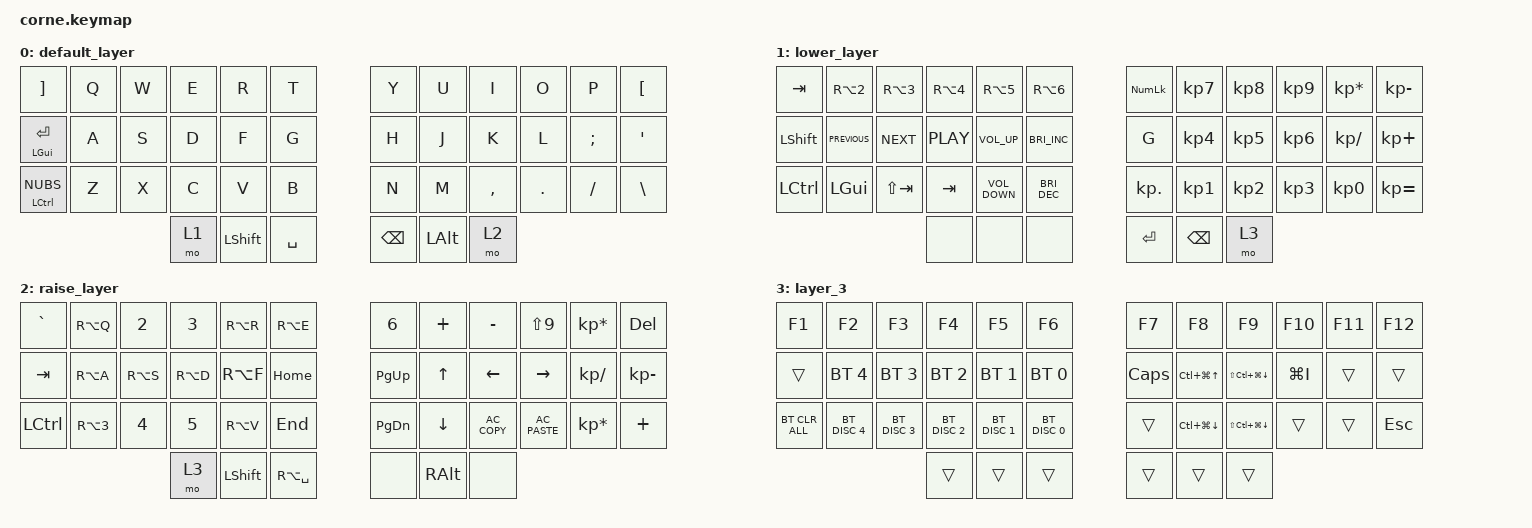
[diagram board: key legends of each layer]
/*
 * Copyright (c) 2020 The ZMK Contributors
 *
 * SPDX-License-Identifier: MIT
 */

#include <behaviors.dtsi>
#include <dt-bindings/zmk/bt.h>
#include <dt-bindings/zmk/keys.h>

/ {
    keymap {
        compatible = "zmk,keymap";

        default_layer {
            // -----------------------------------------------------------------------------------------
            // |  TAB |  Q  |  W  |  E  |  R  |  T  |   |  Y  |  U   |  I  |  O  |  P  | BSPC |
            // | CTRL |  A  |  S  |  D  |  F  |  G  |   |  H  |  J   |  K  |  L  |  ;  |  '   |
            // | SHFT |  Z  |  X  |  C  |  V  |  B  |   |  N  |  M   |  ,  |  .  |  /  | ESC  |
            //                    | GUI | LWR | SPC |   | ENT | RSE  | ALT |

            bindings = <
&kp RBKT        &kp Q  &kp W  &kp E  &kp R      &kp T        &kp Y          &kp U         &kp I      &kp O    &kp P     &kp LBKT
&mt LGUI ENTER  &kp A  &kp S  &kp D  &kp F      &kp G        &kp H          &kp J         &kp K      &kp L    &kp SEMI  &kp SQT
&mt LCTRL NUBS  &kp Z  &kp X  &kp C  &kp V      &kp B        &kp N          &kp M         &kp COMMA  &kp DOT  &kp FSLH  &kp BSLH
                              &mo 1  &kp LSHFT  &kp SPACE    &kp BACKSPACE  &kp LEFT_ALT  &mo 2
            >;
        };

        lower_layer {
            // -----------------------------------------------------------------------------------------
            // |  TAB |  1  |  2  |  3  |  4  |  5  |   |  6  |  7  |  8  |  9  |  0  | BSPC |
            // | BTCLR| BT1 | BT2 | BT3 | BT4 | BT5 |   | LFT | DWN |  UP | RGT |     |      |
            // | SHFT |     |     |     |     |     |   |     |     |     |     |     |      |
            //                    | GUI |     | SPC |   | ENT |     | ALT |

            bindings = <
&kp TAB    &kp RA(NUMBER_2)  &kp RA(NUMBER_3)  &kp RA(NUMBER_4)  &kp RA(N5)         &kp RA(NUMBER_6)        &kp KP_NUMLOCK  &kp KP_NUMBER_7  &kp KP_NUMBER_8  &kp KP_NUMBER_9  &kp KP_MULTIPLY  &kp KP_MINUS
&kp LSHFT  &kp C_PREVIOUS    &kp C_NEXT        &kp C_PLAY        &kp C_VOLUME_UP    &kp C_BRIGHTNESS_INC    &kp G           &kp KP_NUMBER_4  &kp KP_NUMBER_5  &kp KP_NUMBER_6  &kp KP_DIVIDE    &kp KP_PLUS
&kp LCTRL  &kp LGUI          &kp LS(TAB)       &kp TAB           &kp C_VOLUME_DOWN  &kp C_BRIGHTNESS_DEC    &kp KP_DOT      &kp KP_NUMBER_1  &kp KP_NUMBER_2  &kp KP_NUMBER_3  &kp KP_NUMBER_0  &kp KP_EQUAL
                                               &none             &none              &none                   &kp ENTER       &kp BACKSPACE    &mo 3
            >;
        };

        raise_layer {
            // -----------------------------------------------------------------------------------------
            // |  TAB |  !  |  @  |  #  |  $  |  %  |   |  ^  |  &  |  *  |  (  |  )  | BSPC |
            // | CTRL |     |     |     |     |     |   |  -  |  =  |  [  |  ]  |  \  |  `   |
            // | SHFT |     |     |     |     |     |   |  _  |  +  |  {  |  }  | "|" |  ~   |
            //                    | GUI |     | SPC |   | ENT |     | ALT |

            bindings = <
&kp GRAVE  &kp RA(Q)         &kp NUMBER_2  &kp NUMBER_3  &kp RA(R)  &kp RA(E)        &kp NUMBER_6   &kp PLUS        &kp MINUS       &kp LS(N9)       &kp KP_MULTIPLY  &kp DELETE
&kp TAB    &kp RA(A)         &kp RA(S)     &kp RA(D)     &kp RA(F)  &kp HOME         &kp PAGE_UP    &kp UP_ARROW    &kp LEFT_ARROW  &kp RIGHT_ARROW  &kp KP_SLASH     &kp KP_MINUS
&kp LCTRL  &kp RA(NUMBER_3)  &kp NUMBER_4  &kp N5        &kp RA(V)  &kp END          &kp PAGE_DOWN  &kp DOWN_ARROW  &kp C_AC_COPY   &kp C_AC_PASTE   &kp KP_MULTIPLY  &kp PLUS
                                           &mo 3         &kp LSHFT  &kp RA(SPACE)    &none          &kp RIGHT_ALT   &none
            >;
        };

        layer_3 {
            bindings = <
&kp F1          &kp F2         &kp F3         &kp F4         &kp F5         &kp F6           &kp F7        &kp F8                  &kp F9                      &kp F10    &kp F11  &kp F12
&trans          &bt BT_SEL 4   &bt BT_SEL 3   &bt BT_SEL 2   &bt BT_SEL 1   &bt BT_SEL 0     &kp CAPSLOCK  &kp LC(LG(UP_ARROW))    &kp LS(LC(LG(DOWN_ARROW)))  &kp LG(I)  &trans   &trans
&bt BT_CLR_ALL  &bt BT_DISC 4  &bt BT_DISC 3  &bt BT_DISC 2  &bt BT_DISC 1  &bt BT_DISC 0    &trans        &kp LC(LG(DOWN_ARROW))  &kp LS(LC(LG(DOWN_ARROW)))  &trans     &trans   &kp ESCAPE
                                              &trans         &trans         &trans           &trans        &trans                  &trans
            >;
        };
    };
};
